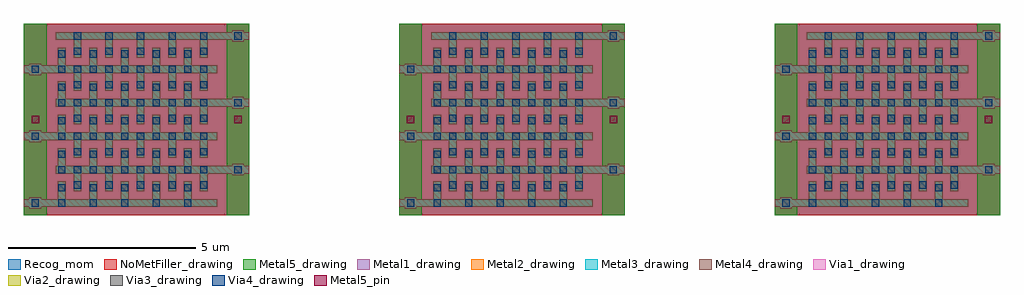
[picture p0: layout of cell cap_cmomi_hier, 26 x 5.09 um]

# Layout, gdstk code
import gdstk
lib = gdstk.Library(unit=1e-6, precision=1e-09)
def R(c, l, rs):  # rectangles x0, y0, x1, y1
    for r in rs: c.add(gdstk.rectangle(r[:2], r[2:], *l))
def A(c, l, x, y, w, h, nx, ny, dx, dy):  # array of equal rectangles
    R(c, l, [(x+i*dx, y+j*dy, x+i*dx+w, y+j*dy+h) for i in range(nx) for j in range(ny)])
Metal1_drawing = (8, 0)
Metal2_drawing = (10, 0)
Via1_drawing = (19, 0)
Via2_drawing = (29, 0)
Metal3_drawing = (30, 0)
Via3_drawing = (49, 0)
Metal4_drawing = (50, 0)
Via4_drawing = (66, 0)
Metal5_drawing = (67, 0)
Metal5_pin = (67, 2)
Recog_mom = (99, 39)
NoMetFiller_drawing = (160, 0)

cmomi = lib.new_cell('cmomi')
A(cmomi, Metal1_drawing, -2.855, -2.38, 0.31, 0.31, 1, 3, 0, 1.78)
A(cmomi, Metal1_drawing, -3, -2.33, 5.15, 0.21, 1, 3, 0, 1.78)
A(cmomi, Metal1_drawing, -2.1, -2.225, 0.21, 0.575, 5, 5, 0.84, 0.89)
A(cmomi, Metal1_drawing, -1.68, -1.91, 0.21, 0.575, 5, 5, 0.84, 0.89)
A(cmomi, Metal1_drawing, 2.545, -1.49, 0.31, 0.31, 1, 3, 0, 1.78)
A(cmomi, Metal1_drawing, -2.15, -1.44, 5.15, 0.21, 1, 3, 0, 1.78)
A(cmomi, Metal2_drawing, -2.855, -2.38, 0.31, 0.31, 1, 3, 0, 1.78)
A(cmomi, Metal2_drawing, -3, -2.33, 5.15, 0.21, 1, 3, 0, 1.78)
A(cmomi, Metal2_drawing, -2.1, -2.225, 0.21, 0.575, 5, 5, 0.84, 0.89)
A(cmomi, Metal2_drawing, -1.68, -1.91, 0.21, 0.575, 5, 5, 0.84, 0.89)
A(cmomi, Metal2_drawing, 2.545, -1.49, 0.31, 0.31, 1, 3, 0, 1.78)
A(cmomi, Metal2_drawing, -2.15, -1.44, 5.15, 0.21, 1, 3, 0, 1.78)
A(cmomi, Via1_drawing, -2.795, -2.32, 0.19, 0.19, 1, 3, 0, 1.78)
A(cmomi, Via1_drawing, -2.09, -2.32, 0.19, 0.19, 5, 2, 0.84, 0.41)
A(cmomi, Via1_drawing, -1.67, -1.84, 0.19, 0.19, 5, 5, 0.84, 0.89)
A(cmomi, Via1_drawing, -2.09, -1.43, 0.19, 0.19, 10, 4, 0.42, 0.89)
A(cmomi, Via1_drawing, 2.605, -1.43, 0.19, 0.19, 1, 3, 0, 1.78)
A(cmomi, Via1_drawing, -2.09, -1.02, 0.19, 0.19, 5, 4, 0.84, 0.89)
A(cmomi, Via1_drawing, -1.67, 2.13, 0.19, 0.19, 5, 1, 0.84, 0)
A(cmomi, Via2_drawing, -2.795, -2.32, 0.19, 0.19, 1, 3, 0, 1.78)
A(cmomi, Via2_drawing, -2.09, -2.32, 0.19, 0.19, 5, 2, 0.84, 0.41)
A(cmomi, Via2_drawing, -1.67, -1.84, 0.19, 0.19, 5, 5, 0.84, 0.89)
A(cmomi, Via2_drawing, -2.09, -1.43, 0.19, 0.19, 10, 4, 0.42, 0.89)
A(cmomi, Via2_drawing, 2.605, -1.43, 0.19, 0.19, 1, 3, 0, 1.78)
A(cmomi, Via2_drawing, -2.09, -1.02, 0.19, 0.19, 5, 4, 0.84, 0.89)
A(cmomi, Via2_drawing, -1.67, 2.13, 0.19, 0.19, 5, 1, 0.84, 0)
A(cmomi, Metal3_drawing, -2.855, -2.38, 0.31, 0.31, 1, 3, 0, 1.78)
A(cmomi, Metal3_drawing, -3, -2.33, 5.15, 0.21, 1, 3, 0, 1.78)
A(cmomi, Metal3_drawing, -2.1, -2.225, 0.21, 0.575, 5, 5, 0.84, 0.89)
A(cmomi, Metal3_drawing, -1.68, -1.91, 0.21, 0.575, 5, 5, 0.84, 0.89)
A(cmomi, Metal3_drawing, 2.545, -1.49, 0.31, 0.31, 1, 3, 0, 1.78)
A(cmomi, Metal3_drawing, -2.15, -1.44, 5.15, 0.21, 1, 3, 0, 1.78)
A(cmomi, Via3_drawing, -2.795, -2.32, 0.19, 0.19, 1, 3, 0, 1.78)
A(cmomi, Via3_drawing, -2.09, -2.32, 0.19, 0.19, 5, 2, 0.84, 0.41)
A(cmomi, Via3_drawing, -1.67, -1.84, 0.19, 0.19, 5, 5, 0.84, 0.89)
A(cmomi, Via3_drawing, -2.09, -1.43, 0.19, 0.19, 10, 4, 0.42, 0.89)
A(cmomi, Via3_drawing, 2.605, -1.43, 0.19, 0.19, 1, 3, 0, 1.78)
A(cmomi, Via3_drawing, -2.09, -1.02, 0.19, 0.19, 5, 4, 0.84, 0.89)
A(cmomi, Via3_drawing, -1.67, 2.13, 0.19, 0.19, 5, 1, 0.84, 0)
A(cmomi, Metal4_drawing, -2.855, -2.38, 0.31, 0.31, 1, 3, 0, 1.78)
A(cmomi, Metal4_drawing, -3, -2.33, 5.15, 0.21, 1, 3, 0, 1.78)
A(cmomi, Metal4_drawing, -2.1, -2.225, 0.21, 0.575, 5, 5, 0.84, 0.89)
A(cmomi, Metal4_drawing, -1.68, -1.91, 0.21, 0.575, 5, 5, 0.84, 0.89)
A(cmomi, Metal4_drawing, 2.545, -1.49, 0.31, 0.31, 1, 3, 0, 1.78)
A(cmomi, Metal4_drawing, -2.15, -1.44, 5.15, 0.21, 1, 3, 0, 1.78)
A(cmomi, Via4_drawing, -2.795, -2.32, 0.19, 0.19, 1, 3, 0, 1.78)
A(cmomi, Via4_drawing, -2.09, -2.32, 0.19, 0.19, 5, 2, 0.84, 0.41)
A(cmomi, Via4_drawing, -1.67, -1.84, 0.19, 0.19, 5, 5, 0.84, 0.89)
A(cmomi, Via4_drawing, -2.09, -1.43, 0.19, 0.19, 10, 4, 0.42, 0.89)
A(cmomi, Via4_drawing, 2.605, -1.43, 0.19, 0.19, 1, 3, 0, 1.78)
A(cmomi, Via4_drawing, -2.09, -1.02, 0.19, 0.19, 5, 4, 0.84, 0.89)
A(cmomi, Via4_drawing, -1.67, 2.13, 0.19, 0.19, 5, 1, 0.84, 0)
A(cmomi, Metal5_drawing, -3, -2.33, 5.15, 0.21, 1, 3, 0, 1.78)
A(cmomi, Metal5_drawing, -2.1, -2.225, 0.21, 0.575, 5, 5, 0.84, 0.89)
A(cmomi, Metal5_drawing, -1.68, -1.91, 0.21, 0.575, 5, 5, 0.84, 0.89)
A(cmomi, Metal5_drawing, -2.15, -1.44, 5.15, 0.21, 1, 3, 0, 1.78)
R(cmomi, Metal5_drawing, [(-3,-2.545,-2.4,2.545), (2.4,-2.545,3,2.545)])
R(cmomi, Metal5_pin, [(-2.8,-0.105,-2.6,0.105), (2.6,-0.105,2.8,0.105)])
R(cmomi, Recog_mom, [(-3,-2.545,3,2.545)])
R(cmomi, NoMetFiller_drawing, [(-3,-2.545,3,2.545)])
cmomi.add(gdstk.Label('C=26.159fF', (0,0), layer=63, texttype=0))
cmomi.add(gdstk.Label('cap_cmomi', (0,0), layer=63, texttype=0))
cmomi.add(gdstk.Label('l=4.20 w=4.45u', (0,-0.5), layer=63, texttype=0))

cmomi_unit = lib.new_cell('cmomi_unit')
cmomi_unit.add(gdstk.Reference(cmomi, (0,0)))

cap_cmomi_hier = lib.new_cell('cap_cmomi_hier')
cap_cmomi_hier.add(gdstk.Reference(cmomi_unit, (0,0)))
cap_cmomi_hier.add(gdstk.Reference(cmomi_unit, (10,0)))
cap_cmomi_hier.add(gdstk.Reference(cmomi, (20,0)))

lib.write_gds('cap_cmomi_hier.gds')
